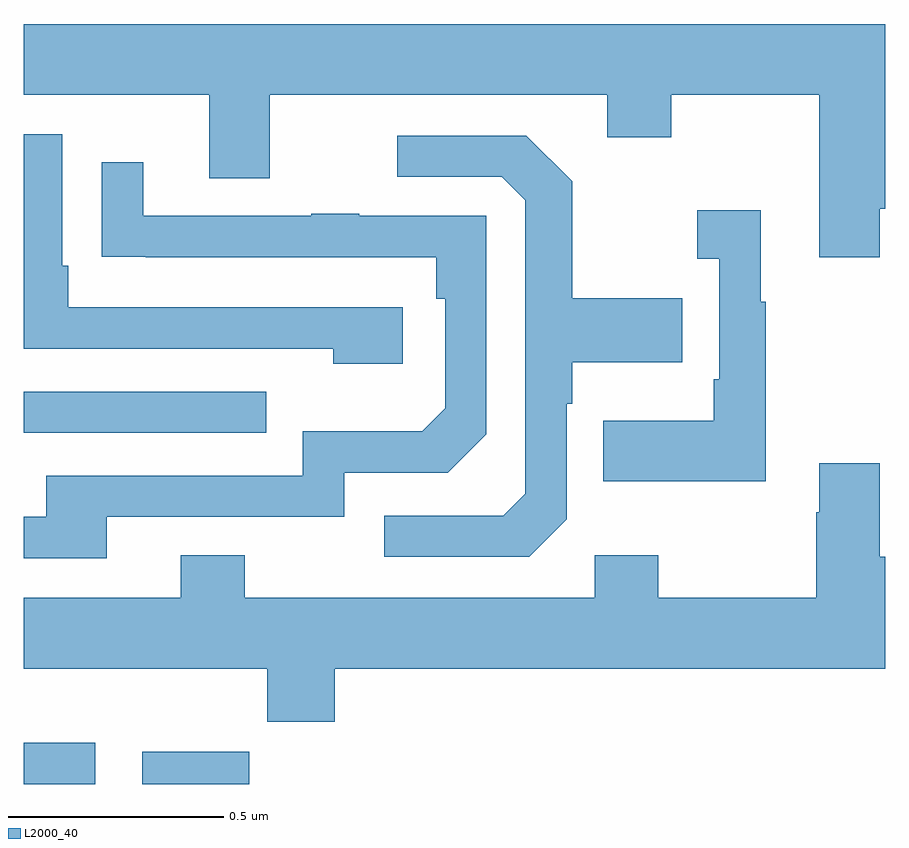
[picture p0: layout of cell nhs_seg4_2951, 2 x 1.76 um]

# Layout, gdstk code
import gdstk
lib = gdstk.Library(unit=1e-6, precision=1e-09)
def R(c, l, rs):  # rectangles x0, y0, x1, y1
    for r in rs: c.add(gdstk.rectangle(r[:2], r[2:], *l))
def P(c, l, *ps):  # polygons
    for p in ps: c.add(gdstk.Polygon(p, *l))
L2000_40 = (2000, 40)

nhs_seg4_2951 = lib.new_cell('nhs_seg4_2951')
R(nhs_seg4_2951, L2000_40, [(147,781.9,147.166,781.996), (147.275,781.9,147.524,781.975), (147,782.715,147.563,782.811)])
P(nhs_seg4_2951, L2000_40, [(148.987,783.235),(149,783.235),(149,783.664),(147,783.664),(147,783.5),(147.431,783.5),(147.431,783.306),(147.571,783.306),(147.571,783.5),(148.355,783.5),(148.355,783.401),(148.503,783.401),(148.503,783.5),(148.847,783.5),(148.847,783.123),(148.987,783.123)],
  [(147.88,783.006),(147.103,783.006),(147.103,783.103),(147.09,783.103),(147.09,783.408),(147,783.408),(147,782.91),(147.719,782.91),(147.719,782.876),(147.88,782.876)],
  [(148.26,782.514),(148.26,782.783),(148.273,782.783),(148.273,782.879),(148.529,782.879),(148.529,783.027),(148.273,783.027),(148.273,783.299),(148.167,783.405),(147.867,783.405),(147.867,783.309),(148.11,783.309),(148.164,783.255),(148.164,782.574),(148.113,782.523),(147.837,782.523),(147.837,782.427),(148.173,782.427)],
  [(147.193,782.52),(147.744,782.52),(147.744,782.622),(147.984,782.622),(148.074,782.712),(148.074,783.219),(147.779,783.219),(147.779,783.224),(147.667,783.224),(147.667,783.219),(147.277,783.219),(147.277,783.343),(147.181,783.343),(147.181,783.124),(147.283,783.124),(147.283,783.123),(147.958,783.123),(147.958,783.026),(147.978,783.026),(147.978,782.772),(147.925,782.719),(147.648,782.719),(147.648,782.616),(147.053,782.616),(147.053,782.52),(147,782.52),(147,782.424),(147.193,782.424)],
  [(148.723,783.019),(148.711,783.019),(148.711,783.232),(148.563,783.232),(148.563,783.119),(148.614,783.119),(148.614,782.839),(148.602,782.839),(148.602,782.743),(148.345,782.743),(148.345,782.603),(148.723,782.603)],
  [(147.722,782.168),(149,782.168),(149,782.428),(148.987,782.428),(148.987,782.644),(148.847,782.644),(148.847,782.531),(148.84,782.531),(148.84,782.332),(148.473,782.332),(148.473,782.431),(148.326,782.431),(148.326,782.332),(147.513,782.332),(147.513,782.431),(147.365,782.431),(147.365,782.332),(147,782.332),(147,782.168),(147.565,782.168),(147.565,782.044),(147.722,782.044)])

lib.write_gds('nhs_seg4_2951.gds')
